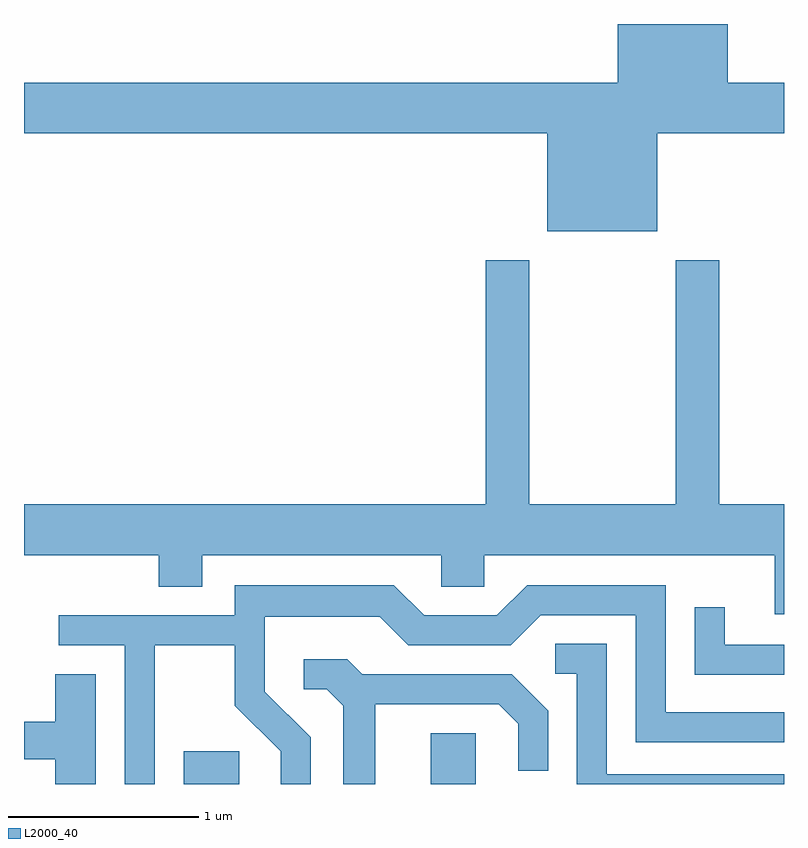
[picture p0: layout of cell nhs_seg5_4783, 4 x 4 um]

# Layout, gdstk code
import gdstk
lib = gdstk.Library(unit=1e-6, precision=1e-09)
def R(c, l, rs):  # rectangles x0, y0, x1, y1
    for r in rs: c.add(gdstk.rectangle(r[:2], r[2:], *l))
def P(c, l, *ps):  # polygons
    for p in ps: c.add(gdstk.Polygon(p, *l))
L2000_40 = (2000, 40)

nhs_seg5_4783 = lib.new_cell('nhs_seg5_4783')
R(nhs_seg5_4783, L2000_40, [(328.451,1420.072,328.744,1420.244), (329.751,1420.072,329.989,1420.339)])
P(nhs_seg5_4783, L2000_40, [(330.944,1423.496),(331.611,1423.496),(331.611,1423.764),(331.314,1423.764),(331.314,1424.072),(330.736,1424.072),(330.736,1423.764),(327.611,1423.764),(327.611,1423.496),(330.366,1423.496),(330.366,1422.981),(330.944,1422.981)],
  [(331.611,1421.544),(331.269,1421.544),(331.269,1422.829),(331.041,1422.829),(331.041,1421.544),(330.269,1421.544),(330.269,1422.829),(330.041,1422.829),(330.041,1421.544),(327.611,1421.544),(327.611,1421.276),(328.321,1421.276),(328.321,1421.111),(328.549,1421.111),(328.549,1421.276),(329.806,1421.276),(329.806,1421.111),(330.034,1421.111),(330.034,1421.276),(331.561,1421.276),(331.561,1420.966),(331.611,1420.966)],
  [(328.299,1420.801),(328.721,1420.801),(328.721,1420.484),(328.961,1420.244),(328.961,1420.072),(329.119,1420.072),(329.119,1420.317),(328.879,1420.557),(328.879,1420.951),(329.484,1420.951),(329.634,1420.801),(330.172,1420.801),(330.332,1420.961),(330.831,1420.961),(330.831,1420.291),(331.611,1420.291),(331.611,1420.449),(330.989,1420.449),(330.989,1421.119),(330.259,1421.119),(330.099,1420.959),(329.717,1420.959),(329.557,1421.119),(328.721,1421.119),(328.721,1420.959),(327.793,1420.959),(327.793,1420.801),(328.141,1420.801),(328.141,1420.072),(328.299,1420.072)],
  [(331.611,1420.804),(331.299,1420.804),(331.299,1421.003),(331.141,1421.003),(331.141,1420.646),(331.611,1420.646)],
  [(331.611,1420.124),(330.679,1420.124),(330.679,1420.809),(330.408,1420.809),(330.408,1420.651),(330.521,1420.651),(330.521,1420.072),(331.611,1420.072)],
  [(329.459,1420.491),(330.109,1420.491),(330.211,1420.389),(330.211,1420.143),(330.369,1420.143),(330.369,1420.457),(330.177,1420.649),(329.392,1420.649),(329.312,1420.729),(329.083,1420.729),(329.083,1420.571),(329.204,1420.571),(329.291,1420.484),(329.291,1420.072),(329.459,1420.072)],
  [(327.989,1420.649),(327.776,1420.649),(327.776,1420.399),(327.611,1420.399),(327.611,1420.201),(327.776,1420.201),(327.776,1420.072),(327.989,1420.072)])

lib.write_gds('nhs_seg5_4783.gds')
